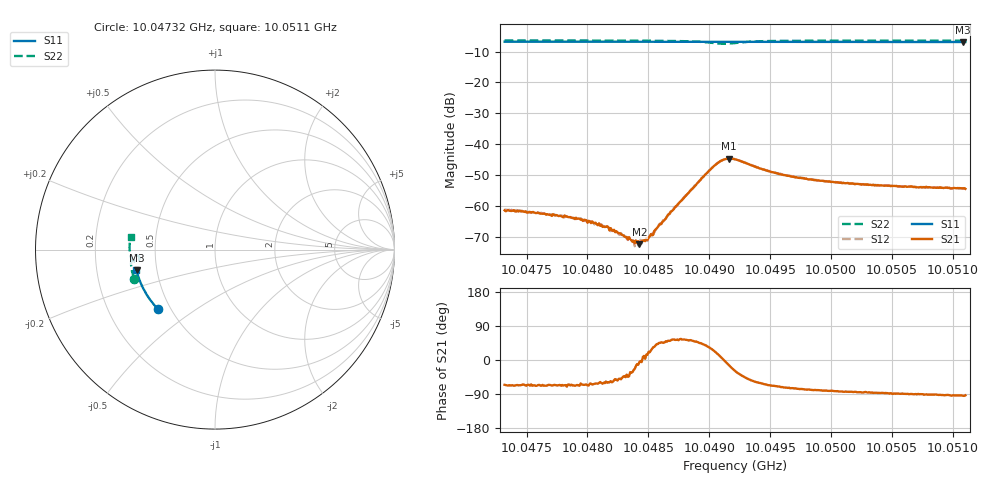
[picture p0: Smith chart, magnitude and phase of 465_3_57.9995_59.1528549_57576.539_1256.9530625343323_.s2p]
#  HZ  S  RI  R  50.00
! Rohde & Schwarz Vector Network Analyzer
! Rohde-Schwarz,ZNB20-2Port,1311601062101988,3.16
! Created: UTC 3/21/2024, 1:11:08 AM
! freq[Hz]  re:S11  im:S11  re:S21  im:S21  re:S12  im:S12  re:S22  im:S22
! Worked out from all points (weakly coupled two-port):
!   401 points, 10.04732 GHz to 10.0511 GHz, reference 50 ohm
!   highest |S21| = -44.70 dB at 10.04916 GHz (marker M1); lowest = -72.5 dB at 10.04843 GHz (marker M2)
!   lowest |S11| = -6.9 dB at 10.05108 GHz (marker M3), VSWR 2.65, Z = 19.1 - j5.51 ohm
!   |S11| at or under -10 dB: nowhere
!   |S22| runs from -7.5 to -6.4 dB; largest |S21 - S12| = 0.0004
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1.004732e10  -0.3202 -0.3285  0.000349 -0.000764  0.000384 -0.000771  -0.4514 -0.1612
1.0047575e10  -0.3315 -0.3162  0.000282 -0.000704  0.000349 -0.000713  -0.4564 -0.1444
1.004783e10  -0.3426 -0.3034  0.000224 -0.000629  0.000293 -0.000605  -0.461 -0.1272
1.0047953e10  -0.3477 -0.2971  0.00026 -0.000541  0.000276 -0.000517  -0.4626 -0.1186
1.0048152e10  -0.3558 -0.2868  0.000249 -0.000379  0.000283 -0.00036  -0.4653 -0.1045
1.0048294e10  -0.3614 -0.2794  0.000239 -0.000228  0.000276 -0.000217  -0.4669 -0.0939
1.0048369e10  -0.3643 -0.2754  0.00022 -0.000136  0.000239 -0.000136  -0.4677 -0.088
1.0048398e10  -0.3654 -0.2738  0.000263 -7.44e-05  0.000249 -9.71e-05  -0.4676 -0.0858
1.0048426e10  -0.3663 -0.2723  0.000235 -2.3e-05  0.000251 -2.59e-05  -0.4679 -0.0835
1.0048502e10  -0.3693 -0.2681  0.000279 0.000111  0.000286 0.000127  -0.4682 -0.0774
1.0048521e10  -0.37 -0.2671  0.000313 0.000147  0.00027 0.000152  -0.4681 -0.0758
1.0048587e10  -0.3725 -0.2635  0.000338 0.000339  0.000344 0.000352  -0.468 -0.0698
1.0048719e10  -0.3771 -0.2562  0.00057 0.000756  0.000529 0.000803  -0.4664 -0.0575
1.0049022e10  -0.3872 -0.2391  0.00361 0.00195  0.0035 0.00216  -0.4372 -0.0306
1.0049097e10  -0.3895 -0.2346  0.00532 0.000658  0.00527 0.00101  -0.4229 -0.0404
1.0049164e10  -0.3915 -0.2311  0.00564 -0.00145  0.00574 -0.00114  -0.423 -0.0572
1.0049211e10  -0.3929 -0.2287  0.00497 -0.0027  0.00515 -0.00237  -0.4312 -0.0651
1.0049513e10  -0.4025 -0.2112  0.00133 -0.00323  0.00155 -0.00318  -0.468 -0.0458
1.0049844e10  -0.4118 -0.1914  0.00051 -0.0026  0.000666 -0.00257  -0.4747 -0.0165
1.0050478e10  -0.4267 -0.1526  4.92e-05 -0.00211  0.00019 -0.0021  -0.4752 0.0301
1.0051083e10  -0.4374 -0.1146  -0.000148 -0.0019  -3.43e-05 -0.00189  -0.4708 0.0713
1.0051102e10  -0.4378 -0.1134  -0.000102 -0.00187  -6.16e-07 -0.00189  -0.4706 0.0727
